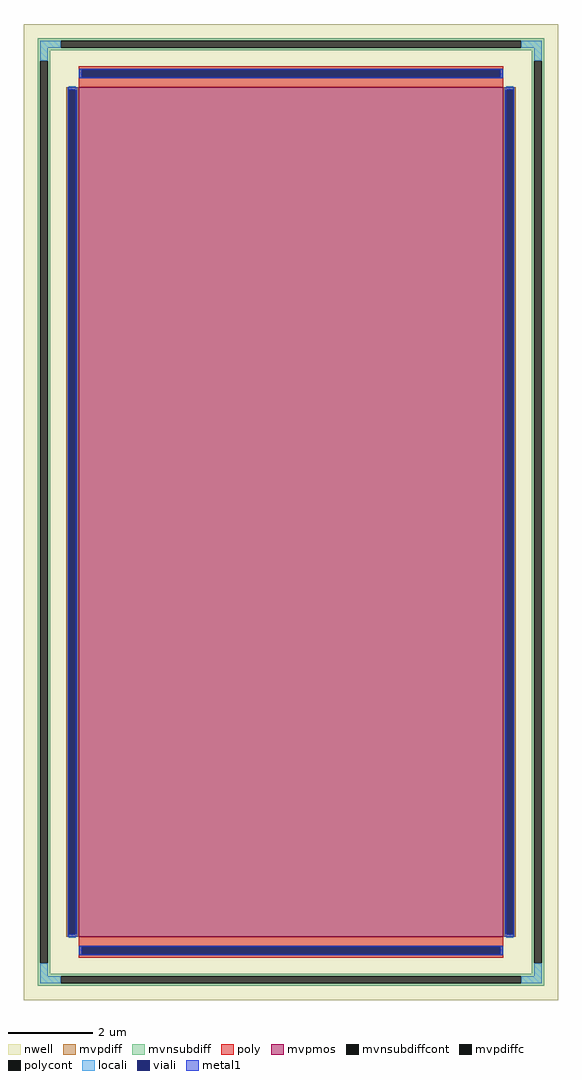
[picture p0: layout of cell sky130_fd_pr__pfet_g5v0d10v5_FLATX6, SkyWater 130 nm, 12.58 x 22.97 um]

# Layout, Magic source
magic
tech sky130A
magscale 1 2
<< nwell >>
rect -1258 -2297 1258 2297
<< mvpmos >>
rect -1000 -2000 1000 2000
<< mvpdiff >>
rect -1058 1988 -1000 2000
rect -1058 -1988 -1046 1988
rect -1012 -1988 -1000 1988
rect -1058 -2000 -1000 -1988
rect 1000 1988 1058 2000
rect 1000 -1988 1012 1988
rect 1046 -1988 1058 1988
rect 1000 -2000 1058 -1988
<< mvpdiffc >>
rect -1046 -1988 -1012 1988
rect 1012 -1988 1046 1988
<< mvnsubdiff >>
rect -1192 2219 1192 2231
rect -1192 2185 -1084 2219
rect 1084 2185 1192 2219
rect -1192 2173 1192 2185
rect -1192 2123 -1134 2173
rect -1192 -2123 -1180 2123
rect -1146 -2123 -1134 2123
rect 1134 2123 1192 2173
rect -1192 -2173 -1134 -2123
rect 1134 -2123 1146 2123
rect 1180 -2123 1192 2123
rect 1134 -2173 1192 -2123
rect -1192 -2185 1192 -2173
rect -1192 -2219 -1084 -2185
rect 1084 -2219 1192 -2185
rect -1192 -2231 1192 -2219
<< mvnsubdiffcont >>
rect -1084 2185 1084 2219
rect -1180 -2123 -1146 2123
rect 1146 -2123 1180 2123
rect -1084 -2219 1084 -2185
<< poly >>
rect -1000 2081 1000 2097
rect -1000 2047 -984 2081
rect 984 2047 1000 2081
rect -1000 2000 1000 2047
rect -1000 -2047 1000 -2000
rect -1000 -2081 -984 -2047
rect 984 -2081 1000 -2047
rect -1000 -2097 1000 -2081
<< polycont >>
rect -984 2047 984 2081
rect -984 -2081 984 -2047
<< locali >>
rect -1180 2185 -1084 2219
rect 1084 2185 1180 2219
rect -1180 2123 -1146 2185
rect 1146 2123 1180 2185
rect -1000 2047 -984 2081
rect 984 2047 1000 2081
rect -1046 1988 -1012 2004
rect -1046 -2004 -1012 -1988
rect 1012 1988 1046 2004
rect 1012 -2004 1046 -1988
rect -1000 -2081 -984 -2047
rect 984 -2081 1000 -2047
rect -1180 -2185 -1146 -2123
rect 1146 -2185 1180 -2123
rect -1180 -2219 -1084 -2185
rect 1084 -2219 1180 -2185
<< viali >>
rect -984 2047 984 2081
rect -1046 -1988 -1012 1988
rect 1012 -1988 1046 1988
rect -984 -2081 984 -2047
<< metal1 >>
rect -996 2081 996 2087
rect -996 2047 -984 2081
rect 984 2047 996 2081
rect -996 2041 996 2047
rect -1052 1988 -1006 2000
rect -1052 -1988 -1046 1988
rect -1012 -1988 -1006 1988
rect -1052 -2000 -1006 -1988
rect 1006 1988 1052 2000
rect 1006 -1988 1012 1988
rect 1046 -1988 1052 1988
rect 1006 -2000 1052 -1988
rect -996 -2047 996 -2041
rect -996 -2081 -984 -2047
rect 984 -2081 996 -2047
rect -996 -2087 996 -2081
<< properties >>
string FIXED_BBOX -1163 -2202 1163 2202
string gencell sky130_fd_pr__pfet_g5v0d10v5
string library sky130
string parameters w 20 l 10 m 1 nf 1 diffcov 100 polycov 100 guard 1 glc 1 grc 1 gtc 1 gbc 1 tbcov 100 rlcov 100 topc 1 botc 1 poverlap 0 doverlap 1 lmin 0.50 wmin 0.42 compatible {sky130_fd_pr__pfet_01v8  sky130_fd_pr__pfet_01v8_lvt sky130_fd_pr__pfet_01v8_hvt  sky130_fd_pr__pfet_g5v0d10v5} full_metal 1 viasrc 100 viadrn 100 viagate 100 viagb 0 viagr 0 viagl 0 viagt 0
<< end >>
